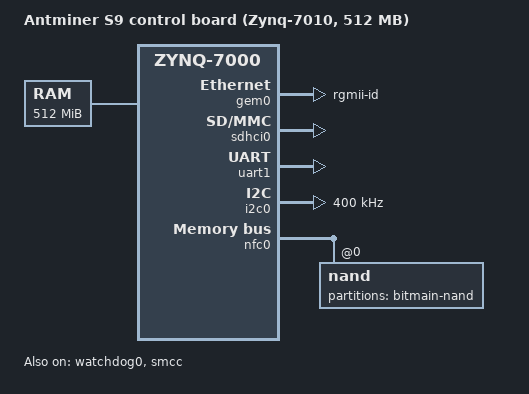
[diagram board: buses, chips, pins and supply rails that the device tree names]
// SPDX-License-Identifier: GPL-2.0
/*
 * Antminer S9 control board: Zynq XC7Z010-CLG400, 512 MB DDR3.
 * Clean base device tree: only the ARM side (PS). Nothing in the FPGA (PL);
 * FPGA designs add their own devices at runtime with device-tree overlays
 * applied to the fpga_full region.
 * Based on U-Boot's bitmain-antminer-s9.dts (Michal Simek) + the working board's tree.
 */
/dts-v1/;
#include "zynq-7000.dtsi"

/ {
	model = "Antminer S9 control board (Zynq-7010, 512 MB)";
	compatible = "bitmain,antminer-s9", "xlnx,zynq-7000";

	aliases {
		ethernet0 = &gem0;
		serial0 = &uart1;
		mmc0 = &sdhci0;
		i2c0 = &i2c0;
		gpio0 = &gpio0;
	};

	memory@0 {
		device_type = "memory";
		reg = <0x0 0x20000000>;
	};

	chosen {
		bootargs = "console=ttyPS0,115200 root=/dev/mmcblk0p2 rw rootwait earlycon";
		stdout-path = "serial0:115200n8";
	};
};

&clkc {
	ps-clk-frequency = <33333333>;
	/* keep FCLK0..3 running for FPGA designs loaded at runtime */
	fclk-enable = <0xf>;
};

&gem0 {
	status = "okay";
	phy-mode = "rgmii-id";
	/* no fixed PHY address: the driver scans the MDIO bus (the board's PHY answers
	 * at address 1). Same as the proven Kuiper image, and it also works in QEMU. */
};

&sdhci0 {
	status = "okay";
	disable-wp;
};

&uart1 {
	status = "okay";
};

&i2c0 {
	status = "okay";
	clock-frequency = <400000>;
};

&gpio0 {
	status = "okay";
};

&watchdog0 {
	status = "okay";
	/* without this the watchdog only raises an interrupt: it must RESET the board */
	reset-on-timeout;
	timeout-sec = <60>;
};

/* On-board NAND (Micron MT29F2G08, 256 MB) with the original Bitmain firmware.
 * Visible to Linux as ONE READ-ONLY partition, so it can be inspected and backed up,
 * but nothing can be written to it by mistake. No on-flash bad block table (the kernel
 * only reads the factory bad-block markers and never writes a table to the chip). */
&smcc {
	status = "okay";
};

&nfc0 {
	status = "okay";
	nand@0 {
		reg = <0>;
		partitions {
			compatible = "fixed-partitions";
			#address-cells = <1>;
			#size-cells = <1>;
			partition@0 {
				label = "bitmain-nand";
				reg = <0x0 0x10000000>;
				read-only;
			};
		};
	};
};
